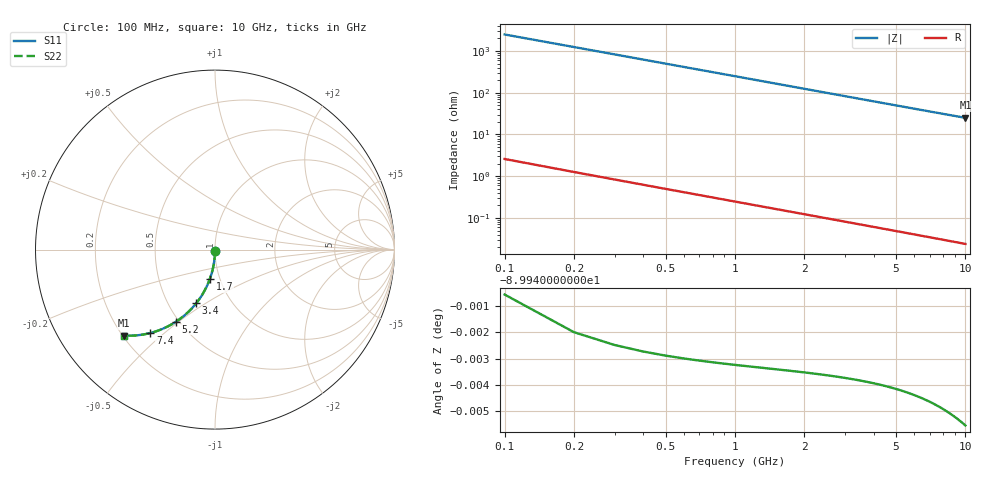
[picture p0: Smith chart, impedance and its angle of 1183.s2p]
# Hz S RI R 50.00
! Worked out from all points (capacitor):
!   100 points, 100 MHz to 10 GHz, reference 50 ohm
!   read as one part in shunt: C = 638 fF near 100 MHz
!   lowest |Z| = 25.1 ohm at 10 GHz (marker M1)
!   S11 on the Smith chart (normalised r, x): 100 MHz: 1.00, -0.02; 1.7 GHz: 0.90, -0.30; 3.4 GHz: 0.69, -0.46; 5.2 GHz: 0.48, -0.49; 7.4 GHz: 0.32, -0.45; 10 GHz: 0.20, -0.38
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1e8  -7.49e-05 -0.00982  0.9999 -0.0102  0.9999 -0.0102  -7.49e-05 -0.00982
2e8  -0.000385 -0.0196  0.9995 -0.0204  0.9995 -0.0204  -0.000385 -0.0196
3e8  -0.000896 -0.0294  0.999 -0.0306  0.999 -0.0306  -0.000896 -0.0294
4e8  -0.00161 -0.0392  0.9983 -0.0408  0.9983 -0.0408  -0.00161 -0.0392
5e8  -0.00252 -0.049  0.9974 -0.051  0.9974 -0.051  -0.00252 -0.049
6e8  -0.00362 -0.0587  0.9963 -0.0611  0.9963 -0.0611  -0.00362 -0.0587
8e8  -0.00643 -0.0781  0.9935 -0.0813  0.9935 -0.0813  -0.00643 -0.0781
1.1e9  -0.0121 -0.1068  0.9878 -0.1111  0.9878 -0.1111  -0.0121 -0.1068
1.4e9  -0.0194 -0.1349  0.9805 -0.1405  0.9805 -0.1405  -0.0194 -0.1349
1.7e9  -0.0284 -0.1624  0.9715 -0.1691  0.9715 -0.1691  -0.0284 -0.1624
1.8e9  -0.0317 -0.1713  0.9682 -0.1785  0.9682 -0.1785  -0.0317 -0.1713
2.1e9  -0.0427 -0.1977  0.9572 -0.206  0.9572 -0.206  -0.0427 -0.1977
2.5e9  -0.0595 -0.2312  0.9404 -0.2411  0.9404 -0.2411  -0.0595 -0.2312
2.9e9  -0.0785 -0.2628  0.9213 -0.2744  0.9213 -0.2744  -0.0785 -0.2628
3.4e9  -0.1049 -0.2993  0.8949 -0.3129  0.8949 -0.3129  -0.1049 -0.2993
4.2e9  -0.152 -0.3503  0.8477 -0.3671  0.8477 -0.3671  -0.152 -0.3503
5.1e9  -0.2095 -0.3963  0.7902 -0.4168  0.7902 -0.4168  -0.2095 -0.3963
5.2e9  -0.216 -0.4007  0.7837 -0.4216  0.7837 -0.4216  -0.216 -0.4007
6.7e9  -0.3148 -0.4504  0.6848 -0.4776  0.6848 -0.4776  -0.3148 -0.4504
7.4e9  -0.3596 -0.4644  0.6399 -0.4945  0.6399 -0.4945  -0.3596 -0.4644
8.4e9  -0.4204 -0.476  0.5789 -0.5104  0.5789 -0.5104  -0.4204 -0.476
1e10  -0.508 -0.4788  0.4911 -0.5201  0.4911 -0.5201  -0.508 -0.4788
